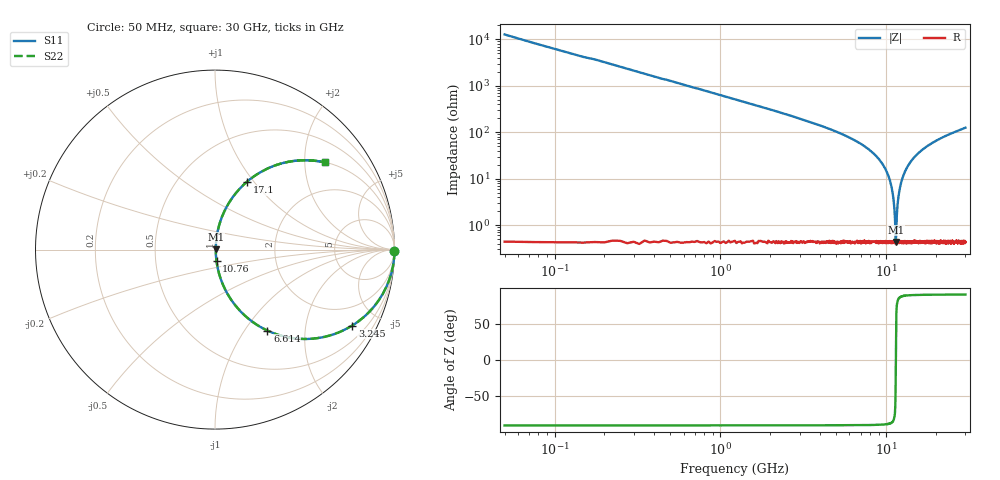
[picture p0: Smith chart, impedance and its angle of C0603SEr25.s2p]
# MHZ S MA R 50
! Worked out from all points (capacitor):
!   1201 points, 50 MHz to 30 GHz, reference 50 ohm
!   read as one part in series: C = 250 fF near 199.8 MHz
!   lowest |Z| = 433 mohm at 11.43 GHz (marker M1)
!   series resonance near 11.42 GHz, so ESL is about 780 pH
!   S11 on the Smith chart (normalised r, x): 50 MHz: open; 3.245 GHz: 1.01, -3.61; 6.614 GHz: 1.01, -1.28; 10.76 GHz: 1.01, -0.13; 17.1 GHz: 1.01, +0.92; 30 GHz: 1.01, +2.50
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50  1 -0.5  0.007854 89.5  0.007854 89.5  1 -0.5
374.458  0.998 -3.4  0.059 86.6  0.059 86.6  0.998 -3.4
873.625  0.991 -7.9  0.137 82.1  0.137 82.1  0.991 -7.9
1822.042  0.959 -16.4  0.282 73.6  0.282 73.6  0.959 -16.4
3244.667  0.874 -29.0  0.484 60.9  0.484 60.9  0.874 -29.0
5041.667  0.711 -44.4  0.7 45.3  0.7 45.3  0.711 -44.4
6614.042  0.537 -57.1  0.84 32.5  0.84 32.5  0.537 -57.1
8710.542  0.291 -72.3  0.953 16.9  0.953 16.9  0.291 -72.3
10058.29  0.14 -80.2  0.986 8.0  0.986 8.0  0.14 -80.2
10757.12  0.066 -82.5  0.994 3.8  0.994 3.8  0.066 -82.5
11056.62  0.036 -81.1  0.995 2.1  0.995 2.1  0.036 -81.1
11331.17  0.009622 -62.9  0.996 0.5  0.996 0.5  0.009622 -62.9
11431  0.00446 14.7  0.996 -0.1  0.996 -0.1  0.00446 14.7
11505.88  0.009428 62.3  0.996 -0.5  0.996 -0.5  0.009428 62.3
11855.29  0.042 81.7  0.995 -2.4  0.995 -2.4  0.042 81.7
12404.38  0.092 82.1  0.992 -5.3  0.992 -5.3  0.092 82.1
13452.62  0.18 78.3  0.979 -10.4  0.979 -10.4  0.18 78.3
15025  0.295 72.1  0.951 -17.1  0.951 -17.1  0.295 72.1
17096.54  0.418 64.7  0.904 -24.7  0.904 -24.7  0.418 64.7
20016.67  0.549 56.3  0.832 -33.3  0.832 -33.3  0.549 56.3
25033.29  0.694 45.8  0.717 -43.9  0.717 -43.9  0.694 45.8
30000  0.78 38.5  0.623 -51.3  0.623 -51.3  0.78 38.5
